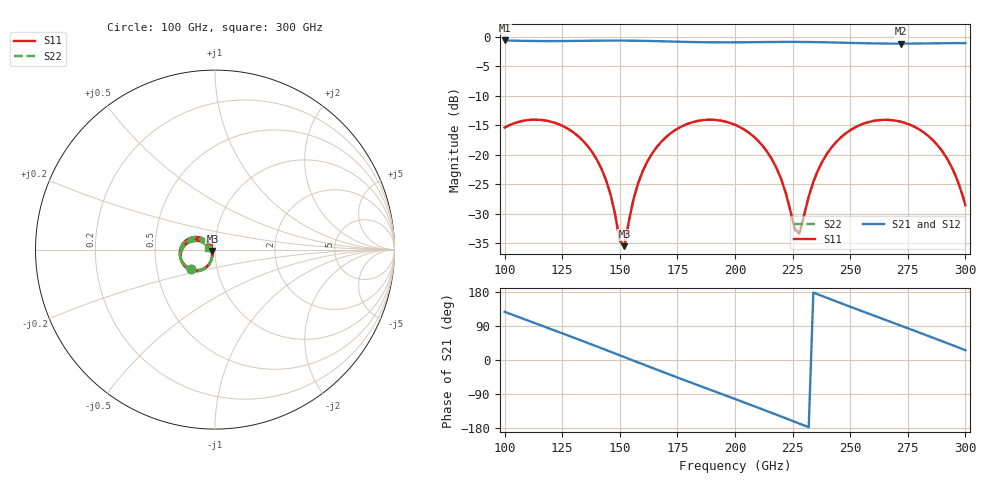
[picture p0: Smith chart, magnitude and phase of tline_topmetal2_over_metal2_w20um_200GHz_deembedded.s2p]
! Created with skrf 2.2.0 (http://scikit-rf.org).
# GHz S DB R 50.0
! Port[1] = P1
! Port[2] = P2
!freq dBS11 angS11 dBS21 angS21 dBS12 angS12 dBS22 angS22
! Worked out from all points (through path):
!   101 points, 100 GHz to 300 GHz, reference 50 ohm
!   highest |S21| = -0.66 dB at 100 GHz (marker M1); lowest = -1.2 dB at 272 GHz (marker M2)
!   group delay of S21, straight-line fit = 6.42 ps
!   lowest |S11| = -35.5 dB at 152 GHz (marker M3), VSWR 1.03, Z = 48.6 - j0.873 ohm
!   |S11| at or under -10 dB: start of sweep to end of sweep
!   |S22| runs from -35.3 to -14.1 dB; largest |S21 - S12| = 1e-13
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100  -15.40 -141.3  -0.66 127.2  -0.66 127.2  -15.40 -141.1
116  -14.12 -175.5  -0.76 90.9  -0.76 90.9  -14.12 -175.2
134  -17.63 147.5  -0.73 49.8  -0.73 49.8  -17.63 147.9
144  -24.26 133.0  -0.69 26.5  -0.69 26.5  -24.26 133.6
150  -34.57 161.2  -0.69 12.3  -0.69 12.3  -34.48 162.4
152  -35.47 -147.8  -0.69 7.6  -0.69 7.6  -35.28 -147.4
158  -24.78 -109.3  -0.72 -6.5  -0.72 -6.5  -24.74 -109.2
168  -17.81 -122.9  -0.80 -29.9  -0.80 -29.9  -17.80 -122.7
184  -14.27 -155.2  -0.95 -66.6  -0.95 -66.6  -14.26 -154.8
200  -14.94 172.1  -0.98 -102.9  -0.98 -102.9  -14.93 172.6
216  -20.76 143.8  -0.92 -139.8  -0.92 -139.8  -20.73 144.5
222  -26.44 143.0  -0.91 -153.8  -0.91 -153.8  -26.36 144.2
226  -32.76 172.0  -0.91 -163.2  -0.91 -163.2  -32.49 173.1
228  -33.34 -149.0  -0.91 -167.9  -0.91 -167.9  -33.05 -149.4
234  -24.60 -109.8  -0.94 177.9  -0.94 177.9  -24.57 -110.1
240  -19.80 -114.2  -0.98 163.9  -0.98 163.9  -19.79 -114.1
248  -16.41 -127.8  -1.06 145.3  -1.06 145.3  -16.40 -127.6
258  -14.47 -147.3  -1.14 122.4  -1.14 122.4  -14.46 -146.9
268  -14.14 -167.2  -1.19 99.7  -1.19 99.7  -14.14 -166.7
272  -14.41 -175.2  -1.19 90.6  -1.19 90.6  -14.41 -174.6
290  -19.43 153.0  -1.13 49.3  -1.13 49.3  -19.41 154.0
300  -28.56 160.7  -1.11 25.8  -1.11 25.8  -28.31 162.8
